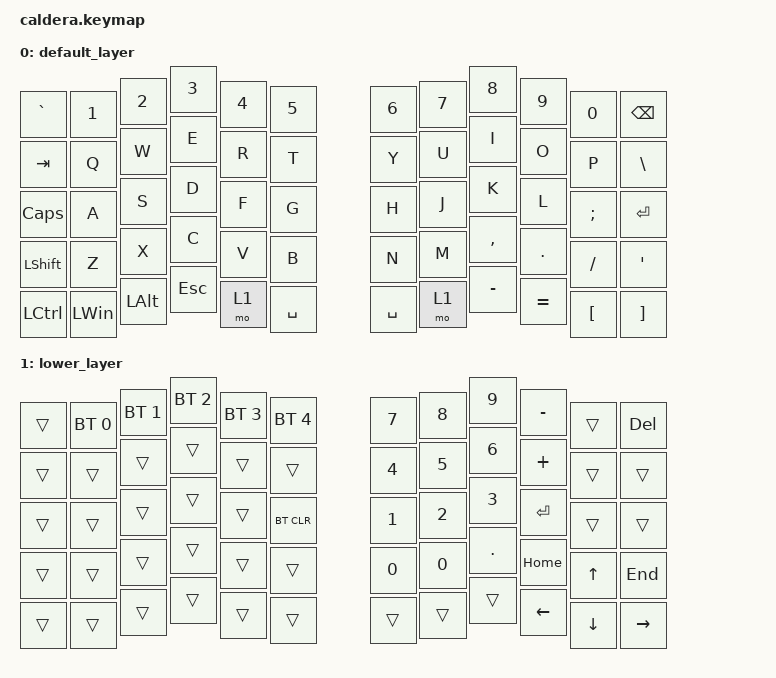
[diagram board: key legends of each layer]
#include <behaviors.dtsi>
#include <dt-bindings/zmk/keys.h>
#include <dt-bindings/zmk/bt.h>

/ {
        keymap {
                compatible = "zmk,keymap";
                default_layer {
   // --------------------------------------     --------------------------------------
   // | `~    |  1! | 2@  | 3#  | 4$  | 5%  |     |  6^ |  7& |  8* |  9( |  0) | Back |
   // | Tab   |  Q  | W   | E   | R   | T   |     |  Y  |  U  |  I  |  O  |  P  |  \|  |
   // | Caps  |  A  | S   | D   | F   | G   |     |  H  |  J  |  K  |  L  |  ;: | Ret  |
   // | Shift |  Z  | X   | C   | V   | B   |     |  N  |  M  |  ,< |  .> |  /? |  '"  |
   // | Ctrl  | Win | Alt | Esc | Lyr | Spc |     | Spc | Lyr |  -_ |  =+ |  [{ |  ]}  |
                        bindings = <
   &kp GRAVE  &kp N1    &kp N2    &kp N3   &kp N4  &kp N5         &kp N6     &kp N7  &kp N8     &kp N9    &kp N0    &kp BSPC
   &kp TAB    &kp Q     &kp W     &kp E    &kp R   &kp T          &kp Y      &kp U   &kp I      &kp O     &kp P     &kp BSLH
   &kp CAPS   &kp A     &kp S     &kp D    &kp F   &kp G          &kp H      &kp J   &kp K      &kp L     &kp SEMI  &kp RET
   &kp LSHFT  &kp Z     &kp X     &kp C    &kp V   &kp B          &kp N      &kp M   &kp COMMA  &kp DOT   &kp FSLH  &kp APOS
   &kp LCTRL  &kp LWIN  &kp LALT  &kp ESC  &mo 1   &kp SPACE      &kp SPACE  &mo 1   &kp MINUS  &kp EQUAL &kp LBKT  &kp RBKT
                        >;
                };
                lower_layer {
   // ----------------------------------------     --------------------------------------
   // |      | BT1 | BT2 | BT3 | BT4 |  BT5  |     |  7  |  8  |  9  |  -  |     | Del  |
   // |      |     |     |     |     |       |     |  4  |  5  |  6  |  +  |     |      |
   // |      |     |     |     |     | BTCLR |     |  1  |  2  |  3  | Ret |     |      |
   // |      |     |     |     |     |       |     |  0  |  0  |  .  | Home|  ↑  | End  |
   // |      |     |     |     | LYR |       |     |     | Lyr |     |  ←  |  ↓  |  →   |
                        bindings = <
   &trans  &bt BT_SEL 0 &bt BT_SEL 1 &bt BT_SEL 2 &bt BT_SEL 3 &bt BT_SEL 4     &kp N7  &kp N8  &kp N9   &kp MINUS  &trans    &kp DEL
   &trans  &trans       &trans       &trans       &trans       &trans           &kp N4  &kp N5  &kp N6   &kp PLUS   &trans    &trans
   &trans  &trans       &trans       &trans       &trans       &bt BT_CLR       &kp N1  &kp N2  &kp N3   &kp RET    &trans    &trans
   &trans  &trans       &trans       &trans       &trans       &trans           &kp N0  &kp N0  &kp DOT  &kp HOME   &kp UP    &kp END
   &trans  &trans       &trans       &trans       &trans       &trans           &trans  &trans  &trans   &kp LEFT   &kp DOWN  &kp RIGHT
                        >;
                };
        };
};

// Original Caldera layout 
// (note that it used UARW DARW LARW RAWR instead of UP DOWN LEFT RIGHT for arrow codes)
// --------------------------------------     ---------------------------------------
// |   `  |  1  |  2  |  3  |  4  |  5  |     |  6  |  7  |  8  |  9  |  0  | BKSP  |
// | TAB  |  Q  |  W  |  E  |  R  |  T  |     |  Y  |  U  |  I  |  O  |  P  |  \    |
// | CAPS |  A  |  S  |  D  |  F  |  G  |     |  H  |  J  |  K  |  L  |  ;  |  ENT  |
// | SHFT |  Z  |  X  |  C  |  V  |  B  |     |  N  |  M  |  ,  |  .  |  /  |  '    |
// | CTRL | ALT | GUI | SPC | SPC | SPC |     | SPC | LOW |  ←  |  ↓  |  ↑  |  →    |
// --------------------------------------     ---------------------------------------
// |      | BT1 | BT2 | BT3 | BT4 | BT5 |     |     |     |     |     |     | BTCLR |
// |      |     |     |     |     |     |     |     |     |     |     |     |       |
// |      |     |     |  (  |  )  |     |     |     |  [  |  ]  |  -  |  =  |       |
// |      |     |     |     |     |     |     |     |     |     |     |     |       |

// https://zmk.dev/docs/keymaps

// https://zmk.dev/docs/keymaps/list-of-keycodes
// &kp=keypress
// LWIN=LGUI=Windows button
// GRAVE=` ("grave accent"), LARW=<-, APOS=apostrophe, LPAR=(, LBKT=[, SPC=space, LOW=lower layer
// DOT=., FSLH=/, SEMI=;, BSPC=backspace, BSLH=backslash, RET=enter

// layers
// default_layer = layer 0, lower_layer = layer 1
// &mo 1 = momentary layer 1 (enable layer 1 while key is pressed)
// &trans=transparent (pass key press down to next layer in stack)

// bluetooth: 
// &bt=bluetooth, BT_SEL 0-5 bluetooth bind to 0th-5th profile, 
// BTCLR=clear selected profile (make sure to delete it from the computer too)

// there are even options to do mouse button presses, movements, and scrolling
